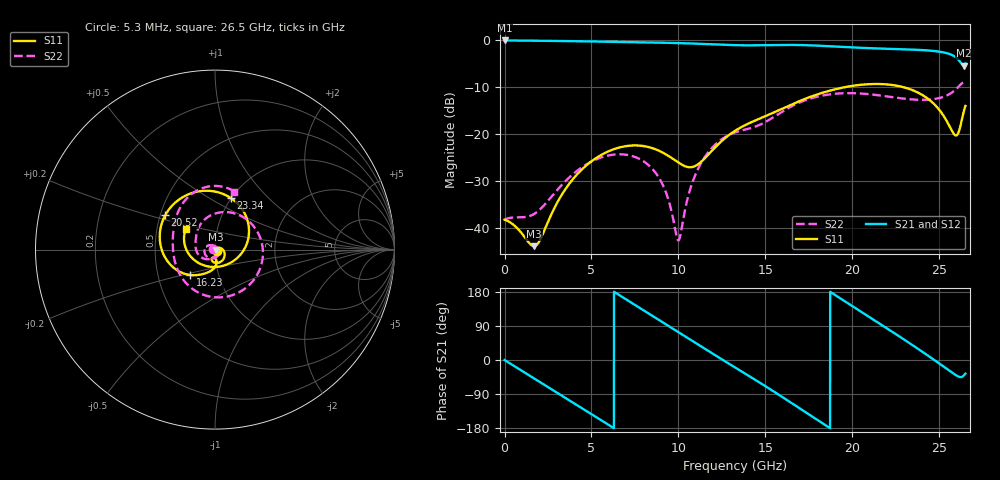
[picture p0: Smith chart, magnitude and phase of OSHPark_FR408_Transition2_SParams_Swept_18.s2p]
! TOUCHSTONE file generated by CST MICROWAVE STUDIO
! Date and time: Tue Jan  7 09:43:28 2020
! Project name: OSHPark_FR408_Transition2.cst
! Parameters = {GND_Plane_XMax=12.25; Cap_Disk_XOffset=0; Cap_Disk2_YCenter=-1.03; Cap_Disk_YCenter=1.03; Cap_Disk_XCenter=7.39; Cap_Disk_Radius=0.5; BottomSupport_Left_YMax=4.76; BottomSupport_Left_YMin=3.74; BottomSupport_Right_YMax=-3.74; BottomSupport_Right_YMin=-4.76; BottomSupport_XMax=11.64; 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
! Header version: 2015
! Port assignment regex: !\s*Touchstone port\s*([0-9]+)\s*=\s*CST MWS port\s*([0-9]+)\s*\(\"(.*)\"\)(\s*mode\s*([0-9]+))?.*
! Touchstone port assignment:
! Touchstone port 1 = CST MWS port 1 ("")
! Touchstone port 2 = CST MWS port 2 ("")
# GHz S MA R 50
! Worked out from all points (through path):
!   5000 points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, 5.3 MHz to 26.5 GHz, reference 50 ohm
!   highest |S21| = 0.00 dB at 5.3 MHz (marker M1); lowest = -5.4 dB at 26.4 GHz (marker M2)
!   group delay of S21, straight-line fit = 80.8 ps
!   lowest |S11| = -43.9 dB at 1.696 GHz (marker M3), VSWR 1.01, Z = 50.6 - j0.0218 ohm
!   |S11| at or under -10 dB: start of sweep to 19.52 GHz; 22.97 GHz to end of sweep
!   |S22| runs from -42.7 to -9.0 dB; largest |S21 - S12| = 0
!   S11 on the Smith chart (normalised r, x): 5.3 MHz: 1.02, -0.01; 16.23 GHz: 0.73, -0.22; 20.52 GHz: 0.53, +0.23; 23.34 GHz: 0.99, +0.63; 26.5 GHz: 0.71, +0.18
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0.0053  0.01223 -24.3  0.9999 -0.2  0.9999 -0.2  0.0124 154.0
1.696  0.006389 -1.9  0.9941 -48.5  0.9941 -48.5  0.01407 52.1
3.0634  0.01911 31.0  0.9875 -87.6  0.9875 -87.6  0.0258 -29.9
4.4255  0.04165 2.8  0.9794 -126.5  0.9794 -126.5  0.04407 -83.5
5.5279  0.05962 -25.3  0.972 -158.1  0.972 -158.1  0.05624 -119.6
6.5561  0.07175 -51.8  0.9649 172.5  0.9649 172.5  0.06104 -151.6
7.6055  0.07584 -77.2  0.9575 142.5  0.9575 142.5  0.05616 175.4
8.8404  0.06715 -101.7  0.9483 107.0  0.9483 107.0  0.03525 132.5
10.0117  0.0496 -109.2  0.9373 73.1  0.9373 73.1  0.007369 12.9
11.236  0.04946 -87.5  0.9212 37.8  0.9212 37.8  0.04677 -104.7
13.2553  0.1087 -95.1  0.891 -19.7  0.891 -19.7  0.1043 -176.5
14.8877  0.1526 -116.7  0.8904 -65.8  0.8904 -65.8  0.1314 142.4
16.2286  0.197 -134.0  0.8971 -105.3  0.8971 -105.3  0.186 102.2
17.6702  0.2536 -157.3  0.8856 -148.6  0.8856 -148.6  0.2426 44.6
19.0217  0.3016 177.1  0.8615 171.1  0.8615 171.1  0.2701 -12.1
20.5163  0.3369 145.5  0.8342 127.0  0.8342 127.0  0.2714 -70.1
22.0851  0.3384 107.9  0.8143 80.8  0.8143 80.8  0.2515 -121.3
23.3412  0.3007 73.2  0.8004 42.9  0.8004 42.9  0.2355 -154.8
24.6715  0.2123 26.9  0.7727 1.3  0.7727 1.3  0.2366 173.5
25.9064  0.09749 -77.1  0.6697 -38.6  0.6697 -38.6  0.2954 133.8
26.3993  0.1728 169.3  0.5395 -41.1  0.5395 -41.1  0.3546 88.5
26.5  0.2001 143.2  0.568 -36.0  0.568 -36.0  0.3396 70.5
